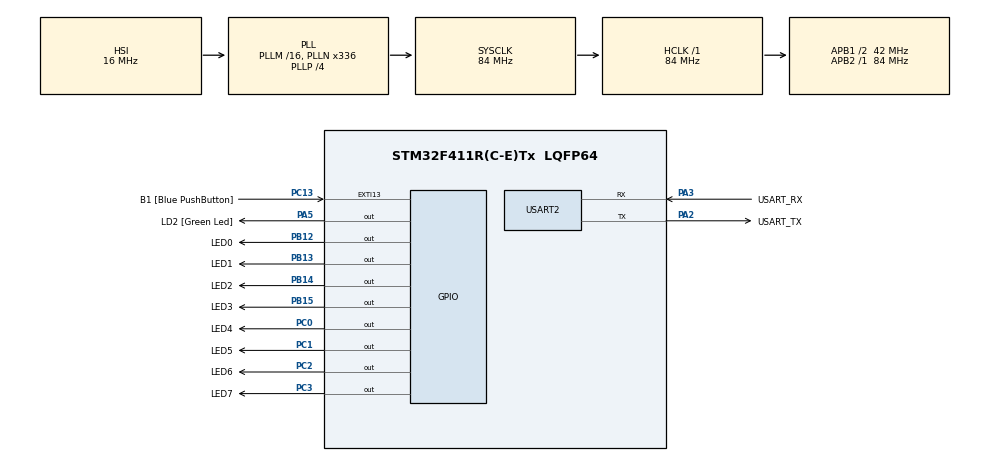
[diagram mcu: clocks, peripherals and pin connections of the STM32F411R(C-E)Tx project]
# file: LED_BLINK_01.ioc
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Mcu.Family=STM32F4
Mcu.Name=STM32F411R(C-E)Tx
Mcu.Package=LQFP64
NVIC.PriorityGroup=NVIC_PRIORITYGROUP_0
PA13.GPIO_Label=TMS
PA13.Mode=Serial_Wire
PA13.Signal=SYS_JTMS-SWDIO
PA14.GPIO_Label=TCK
PA14.Mode=Serial_Wire
PA14.Signal=SYS_JTCK-SWCLK
PA2.GPIO_Label=USART_TX
PA2.Mode=Asynchronous
PA2.Signal=USART2_TX
PA3.GPIO_Label=USART_RX
PA3.Mode=Asynchronous
PA3.Signal=USART2_RX
PA5.GPIO_Label=LD2 [Green Led]
PA5.Signal=GPIO_Output
PB12.GPIO_Label=LED0
PB12.Signal=GPIO_Output
PB13.GPIO_Label=LED1
PB13.Signal=GPIO_Output
PB14.GPIO_Label=LED2
PB14.Signal=GPIO_Output
PB15.GPIO_Label=LED3
PB15.Signal=GPIO_Output
PB3.GPIO_Label=SWO
PB3.Signal=SYS_JTDO-SWO
PC0.GPIO_Label=LED4
PC0.Signal=GPIO_Output
PC1.GPIO_Label=LED5
PC1.Signal=GPIO_Output
PC13-ANTI_TAMP.GPIO_Label=B1 [Blue PushButton]
PC13-ANTI_TAMP.GPIO_ModeDefaultEXTI=GPIO_MODE_IT_FALLING
PC13-ANTI_TAMP.Signal=GPXTI13
PC14-OSC32_IN.Signal=RCC_OSC32_IN
PC15-OSC32_OUT.Signal=RCC_OSC32_OUT
PC2.GPIO_Label=LED6
PC2.Signal=GPIO_Output
PC3.GPIO_Label=LED7
PC3.Signal=GPIO_Output
PH0\ -\ OSC_IN.Signal=RCC_OSC_IN
PH1\ -\ OSC_OUT.Signal=RCC_OSC_OUT
ProjectManager.HeapSize=0x200
ProjectManager.StackSize=0x400
ProjectManager.TargetToolchain=STM32CubeIDE
RCC.48MHZClocksFreq_Value=84000000
RCC.AHBFreq_Value=84000000
RCC.APB1CLKDivider=RCC_HCLK_DIV2
RCC.APB1Freq_Value=42000000
RCC.APB1TimFreq_Value=84000000
RCC.APB2Freq_Value=84000000
RCC.APB2TimFreq_Value=84000000
RCC.CortexFreq_Value=84000000
RCC.FLatency-AdvancedSettings=FLASH_LATENCY_2
RCC.HCLKFreq_Value=84000000
RCC.HSE_VALUE=8000000
RCC.HSI_VALUE=16000000
RCC.LSE_VALUE=32768
RCC.PLLN=336
RCC.PLLP=RCC_PLLP_DIV4
RCC.SYSCLKFreq_VALUE=84000000
RCC.SYSCLKSource=RCC_SYSCLKSOURCE_PLLCLK
RCC.VCOOutputFreq_Value=336000000
USART2.VirtualMode=VM_ASYNC
board=NUCLEO-F411RE

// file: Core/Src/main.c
/* USER CODE BEGIN Header */
/**
  ******************************************************************************
  * @file           : main.c
  * @brief          : Main program body
  ******************************************************************************
  * @attention
  *
  * Copyright (c) 2023 STMicroelectronics.
  * All rights reserved.
  *
  * This software is licensed under terms that can be found in the LICENSE file
  * in the root directory of this software component.
  * If no LICENSE file comes with this software, it is provided AS-IS.
  *
  ******************************************************************************
  */
/* USER CODE END Header */
#include "main.h"

/* USER CODE BEGIN PD */
#define BITMASK16_0	0x0001 // 0b00000001	// 0x01

#define BITMASK16_1	0x0002 // 0b00000010	// 0x02

#define BITMASK16_2	0x0004 // 0b00000100	// 0x04

#define BITMASK16_3	0x0008 // 0b00001000	// 0x08

#define BITMASK16_4	0x0010 // 0b00010000	// 0x10

#define BITMASK16_5	0x0020 // 0b00100000	// 0x20

#define BITMASK16_6	0x0040 // 0b01000000	// 0x40

#define BITMASK16_7	0x0080 // 0b10000000	// 0x80
/* USER CODE END PD */

UART_HandleTypeDef huart2;

void SystemClock_Config(void);
static void MX_GPIO_Init(void);
static void MX_USART2_UART_Init(void);

int main(void)

{

  /* MCU Configuration--------------------------------------------------------*/

  /* Reset of all peripherals, Initializes the Flash interface and the Systick. */
  HAL_Init();

  /* Configure the system clock */
  SystemClock_Config();

  /* Initialize all configured peripherals */
  MX_GPIO_Init();
  MX_USART2_UART_Init();

  /* Infinite loop */
  /* USER CODE BEGIN WHILE */

  while (1)

  {
	int Dir;
	int data;
	int i;
	  if(Dir){

	  		  data=0x01;

	  		  for(int i=0;i<8;i++){

	  			 LED_Value(data<<i);

	  			 HAL_Delay(100);

	  		  }

	  		  data=0x80;

	  		  for(i=0;i<8;i++){

	  		 		 LED_Value(data>>i);

	  		 		 HAL_Delay(100);

	  		  }

	  	  }

    /* USER CODE END WHILE */

  }
}

void LED_Value( uint8_t val){

uint16_t gpiob, gpioc;

	// Clear(Off) LED 8.......

	gpiob = LED0_Pin|LED1_Pin|LED2_Pin|LED3_Pin;

	gpioc = LED4_Pin|LED5_Pin|LED6_Pin|LED7_Pin;

	HAL_GPIO_WritePin(GPIOB,gpiob, GPIO_PIN_RESET);

	HAL_GPIO_WritePin(GPIOC,gpioc, GPIO_PIN_RESET);

	gpiob = gpioc = 0;	// bit '1' -> LED 'on'

	if( (uint32_t)val & BITMASK16_0)

		gpiob |= LED0_Pin;

	if( (uint32_t)val & BITMASK16_1)

		gpiob |= LED1_Pin;

	if( (uint32_t)val & BITMASK16_2)

		gpiob |= LED2_Pin;

	if( (uint32_t)val & BITMASK16_3)

		gpiob |= LED3_Pin;

	if( (uint32_t)val & BITMASK16_4)

		gpioc |= LED4_Pin;

	if( (uint32_t)val & BITMASK16_5)

		gpioc |= LED5_Pin;

	if( (uint32_t)val & BITMASK16_6)

		gpioc |= LED6_Pin;

	if( (uint32_t)val & BITMASK16_7)

		gpioc |= LED7_Pin;

	// LED on depending bits in "val" variable......

	HAL_GPIO_WritePin(GPIOB,gpiob, GPIO_PIN_SET);

	HAL_GPIO_WritePin(GPIOC,gpioc, GPIO_PIN_SET);

}

void SystemClock_Config(void)
{
  RCC_OscInitTypeDef RCC_OscInitStruct = {0};
  RCC_ClkInitTypeDef RCC_ClkInitStruct = {0};

  /** Configure the main internal regulator output voltage
  */
  __HAL_RCC_PWR_CLK_ENABLE();
  __HAL_PWR_VOLTAGESCALING_CONFIG(PWR_REGULATOR_VOLTAGE_SCALE1);

  /** Initializes the RCC Oscillators according to the specified parameters
  * in the RCC_OscInitTypeDef structure.
  */
  RCC_OscInitStruct.OscillatorType = RCC_OSCILLATORTYPE_HSI;
  RCC_OscInitStruct.HSIState = RCC_HSI_ON;
  RCC_OscInitStruct.HSICalibrationValue = RCC_HSICALIBRATION_DEFAULT;
  RCC_OscInitStruct.PLL.PLLState = RCC_PLL_ON;
  RCC_OscInitStruct.PLL.PLLSource = RCC_PLLSOURCE_HSI;
  RCC_OscInitStruct.PLL.PLLM = 16;
  RCC_OscInitStruct.PLL.PLLN = 336;
  RCC_OscInitStruct.PLL.PLLP = RCC_PLLP_DIV4;
  RCC_OscInitStruct.PLL.PLLQ = 4;
  if (HAL_RCC_OscConfig(&RCC_OscInitStruct) != HAL_OK)
  {
    Error_Handler();
  }

  /** Initializes the CPU, AHB and APB buses clocks
  */
  RCC_ClkInitStruct.ClockType = RCC_CLOCKTYPE_HCLK|RCC_CLOCKTYPE_SYSCLK
                              |RCC_CLOCKTYPE_PCLK1|RCC_CLOCKTYPE_PCLK2;
  RCC_ClkInitStruct.SYSCLKSource = RCC_SYSCLKSOURCE_PLLCLK;
  RCC_ClkInitStruct.AHBCLKDivider = RCC_SYSCLK_DIV1;
  RCC_ClkInitStruct.APB1CLKDivider = RCC_HCLK_DIV2;
  RCC_ClkInitStruct.APB2CLKDivider = RCC_HCLK_DIV1;

  if (HAL_RCC_ClockConfig(&RCC_ClkInitStruct, FLASH_LATENCY_2) != HAL_OK)
  {
    Error_Handler();
  }
}

static void MX_USART2_UART_Init(void)
{

  huart2.Instance = USART2;
  huart2.Init.BaudRate = 115200;
  huart2.Init.WordLength = UART_WORDLENGTH_8B;
  huart2.Init.StopBits = UART_STOPBITS_1;
  huart2.Init.Parity = UART_PARITY_NONE;
  huart2.Init.Mode = UART_MODE_TX_RX;
  huart2.Init.HwFlowCtl = UART_HWCONTROL_NONE;
  huart2.Init.OverSampling = UART_OVERSAMPLING_16;
  if (HAL_UART_Init(&huart2) != HAL_OK)
  {
    Error_Handler();
  }

}

static void MX_GPIO_Init(void)
{
  GPIO_InitTypeDef GPIO_InitStruct = {0};

  /* GPIO Ports Clock Enable */
  __HAL_RCC_GPIOC_CLK_ENABLE();
  __HAL_RCC_GPIOH_CLK_ENABLE();
  __HAL_RCC_GPIOA_CLK_ENABLE();
  __HAL_RCC_GPIOB_CLK_ENABLE();

  /*Configure GPIO pin Output Level */
  HAL_GPIO_WritePin(GPIOC, LED4_Pin|LED5_Pin|LED6_Pin|LED7_Pin, GPIO_PIN_RESET);

  /*Configure GPIO pin Output Level */
  HAL_GPIO_WritePin(LD2_GPIO_Port, LD2_Pin, GPIO_PIN_RESET);

  /*Configure GPIO pin Output Level */
  HAL_GPIO_WritePin(GPIOB, LED0_Pin|LED1_Pin|LED2_Pin|LED3_Pin, GPIO_PIN_RESET);

  /*Configure GPIO pin : B1_Pin */
  GPIO_InitStruct.Pin = B1_Pin;
  GPIO_InitStruct.Mode = GPIO_MODE_IT_FALLING;
  GPIO_InitStruct.Pull = GPIO_NOPULL;
  HAL_GPIO_Init(B1_GPIO_Port, &GPIO_InitStruct);

  /*Configure GPIO pins : LED4_Pin LED5_Pin LED6_Pin LED7_Pin */
  GPIO_InitStruct.Pin = LED4_Pin|LED5_Pin|LED6_Pin|LED7_Pin;
  GPIO_InitStruct.Mode = GPIO_MODE_OUTPUT_PP;
  GPIO_InitStruct.Pull = GPIO_NOPULL;
  GPIO_InitStruct.Speed = GPIO_SPEED_FREQ_LOW;
  HAL_GPIO_Init(GPIOC, &GPIO_InitStruct);

  /*Configure GPIO pin : LD2_Pin */
  GPIO_InitStruct.Pin = LD2_Pin;
  GPIO_InitStruct.Mode = GPIO_MODE_OUTPUT_PP;
  GPIO_InitStruct.Pull = GPIO_NOPULL;
  GPIO_InitStruct.Speed = GPIO_SPEED_FREQ_LOW;
  HAL_GPIO_Init(LD2_GPIO_Port, &GPIO_InitStruct);

  /*Configure GPIO pins : LED0_Pin LED1_Pin LED2_Pin LED3_Pin */
  GPIO_InitStruct.Pin = LED0_Pin|LED1_Pin|LED2_Pin|LED3_Pin;
  GPIO_InitStruct.Mode = GPIO_MODE_OUTPUT_PP;
  GPIO_InitStruct.Pull = GPIO_NOPULL;
  GPIO_InitStruct.Speed = GPIO_SPEED_FREQ_LOW;
  HAL_GPIO_Init(GPIOB, &GPIO_InitStruct);

}

void Error_Handler(void)
{
  __disable_irq();
  while (1)
  {
  }
}
